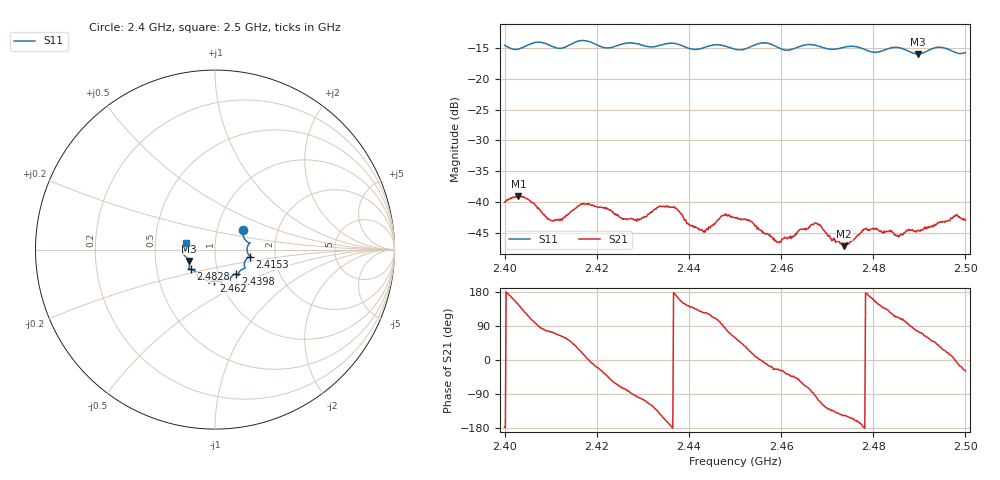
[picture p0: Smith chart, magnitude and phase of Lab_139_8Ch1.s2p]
# Hz S RI R 50
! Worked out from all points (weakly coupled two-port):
!   601 points, 2.4 GHz to 2.5 GHz, reference 50 ohm
!   highest |S21| = -39.09 dB at 2.403 GHz (marker M1); lowest = -47.2 dB at 2.4737 GHz (marker M2)
!   lowest |S11| = -15.9 dB at 2.4897 GHz (marker M3), VSWR 1.38, Z = 36.9 - j4.81 ohm
!   |S11| at or under -10 dB: start of sweep to end of sweep
!   S12 and S22 are empty: the file has one direction only
!   S11 on the Smith chart (normalised r, x): 2.4 GHz: 1.33, +0.29; 2.4153 GHz: 1.48, -0.12; 2.4398 GHz: 1.21, -0.34; 2.462 GHz: 0.93, -0.33; 2.4828 GHz: 0.74, -0.17; 2.5 GHz: 0.72, +0.06
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2.4e9  0.1555 0.1066  -0.00994 -0.000534  0 0  0 0
2.403e9  0.1654 0.0593  -0.00924 0.00617  0 0  0 0
2.410167e9  0.1843 0.0241  0.0019 0.00677  0 0  0 0
2.415333e9  0.196 -0.0389  0.00695 0.00543  0 0  0 0
2.416667e9  0.2017 -0.0427  0.00891 0.00333  0 0  0 0
2.428667e9  0.1638 -0.1048  -0.000712 -0.00691  0 0  0 0
2.433333e9  0.1308 -0.1336  -0.00659 -0.00618  0 0  0 0
2.437e9  0.1322 -0.1435  -0.0088 0.00101  0 0  0 0
2.439833e9  0.1157 -0.1363  -0.00529 0.00394  0 0  0 0
2.443333e9  0.0877 -0.1581  -0.00326 0.00482  0 0  0 0
2.447333e9  0.0835 -0.1684  -0.000296 0.00769  0 0  0 0
2.45e9  0.065 -0.1627  0.00386 0.00638  0 0  0 0
2.459167e9  0.0293 -0.18  0.00427 -0.00193  0 0  0 0
2.462e9  -0.00533 -0.1732  0.00393 -0.00347  0 0  0 0
2.466667e9  -0.0344 -0.1877  0.000623 -0.00653  0 0  0 0
2.473667e9  -0.0854 -0.1605  -0.00363 -0.00241  0 0  0 0
2.478167e9  -0.0994 -0.143  -0.00599 -4.11e-06  0 0  0 0
2.482833e9  -0.1364 -0.1092  -0.00402 0.0041  0 0  0 0
2.483333e9  -0.1402 -0.1089  -0.00372 0.00438  0 0  0 0
2.489667e9  -0.1471 -0.0635  0.0014 0.00568  0 0  0 0
2.497833e9  -0.1646 0.00288  0.00763 -0.000137  0 0  0 0
2.5e9  -0.1597 0.039  0.00616 -0.0034  0 0  0 0
